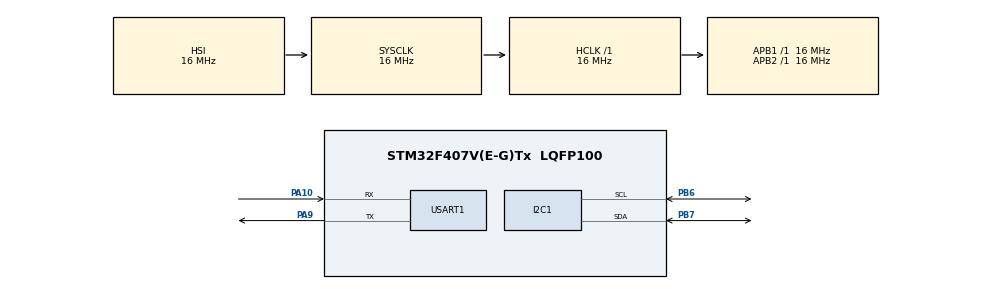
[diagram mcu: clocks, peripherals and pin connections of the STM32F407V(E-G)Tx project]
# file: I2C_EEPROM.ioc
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Mcu.Family=STM32F4
Mcu.Name=STM32F407V(E-G)Tx
Mcu.Package=LQFP100
NVIC.PriorityGroup=NVIC_PRIORITYGROUP_4
PA10.Mode=Asynchronous
PA10.Signal=USART1_RX
PA9.Mode=Asynchronous
PA9.Signal=USART1_TX
PB6.Mode=I2C
PB6.Signal=I2C1_SCL
PB7.Mode=I2C
PB7.Signal=I2C1_SDA
ProjectManager.HeapSize=0x200
ProjectManager.StackSize=0x400
ProjectManager.TargetToolchain=MDK-ARM V4
RCC.AHBFreq_Value=16000000
RCC.APB1Freq_Value=16000000
RCC.APB2Freq_Value=16000000
RCC.CortexFreq_Value=16000000
RCC.HSE_VALUE=25000000
RCC.HSI_VALUE=16000000
RCC.LSE_VALUE=32768
RCC.SYSCLKFreq_VALUE=16000000
RCC.VCOOutputFreq_Value=192000000
USART1.VirtualMode=VM_ASYNC
board=I2C_EEPROM

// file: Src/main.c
/**
  ******************************************************************************
  * @file           : main.c
  * @brief          : Main program body
  ******************************************************************************
  ** This notice applies to any and all portions of this file
  * that are not between comment pairs USER CODE BEGIN and
  * USER CODE END. Other portions of this file, whether
  * inserted by the user or by software development tools
  * are owned by their respective copyright owners.
  *
  * COPYRIGHT(c) 2018 STMicroelectronics
  *
  * Redistribution and use in source and binary forms, with or without modification,
  * are permitted provided that the following conditions are met:
  *   1. Redistributions of source code must retain the above copyright notice,
  *      this list of conditions and the following disclaimer.
  *   2. Redistributions in binary form must reproduce the above copyright notice,
  *      this list of conditions and the following disclaimer in the documentation
  *      and/or other materials provided with the distribution.
  *   3. Neither the name of STMicroelectronics nor the names of its contributors
  *      may be used to endorse or promote products derived from this software
  *      without specific prior written permission.
  *
  * THIS SOFTWARE IS PROVIDED BY THE COPYRIGHT HOLDERS AND CONTRIBUTORS "AS IS"
  * AND ANY EXPRESS OR IMPLIED WARRANTIES, INCLUDING, BUT NOT LIMITED TO, THE
  * IMPLIED WARRANTIES OF MERCHANTABILITY AND FITNESS FOR A PARTICULAR PURPOSE ARE
  * DISCLAIMED. IN NO EVENT SHALL THE COPYRIGHT HOLDER OR CONTRIBUTORS BE LIABLE
  * FOR ANY DIRECT, INDIRECT, INCIDENTAL, SPECIAL, EXEMPLARY, OR CONSEQUENTIAL
  * DAMAGES (INCLUDING, BUT NOT LIMITED TO, PROCUREMENT OF SUBSTITUTE GOODS OR
  * SERVICES; LOSS OF USE, DATA, OR PROFITS; OR BUSINESS INTERRUPTION) HOWEVER
  * CAUSED AND ON ANY THEORY OF LIABILITY, WHETHER IN CONTRACT, STRICT LIABILITY,
  * OR TORT (INCLUDING NEGLIGENCE OR OTHERWISE) ARISING IN ANY WAY OUT OF THE USE
  * OF THIS SOFTWARE, EVEN IF ADVISED OF THE POSSIBILITY OF SUCH DAMAGE.
  *
  ******************************************************************************
  */
#include "main.h"
#include "stm32f4xx_hal.h"

/* USER CODE BEGIN Includes */
#include "string.h"
/* USER CODE END Includes */

I2C_HandleTypeDef hi2c1;

UART_HandleTypeDef huart1;

/* USER CODE BEGIN PV */
/* Private variables ---------------------------------------------------------*/
#define EEPROM_ADDRESS 0xA0
/* USER CODE END PV */

void SystemClock_Config(void);
static void MX_GPIO_Init(void);
static void MX_I2C1_Init(void);
static void MX_USART1_UART_Init(void);

/* USER CODE BEGIN PFP */
/* Private function prototypes -----------------------------------------------*/
void i_write(unsigned position, unsigned int data) {
	int count = 0;
	if (data>255) {
		while (data>255) {
			data = data - 255;
			count++;
		}
	}

	if (count>0) {
		HAL_I2C_Mem_Write(&hi2c1, EEPROM_ADDRESS, position, 0xFF, (uint8_t*)&count,1,1);
		HAL_Delay(5);
		HAL_I2C_Mem_Write(&hi2c1, EEPROM_ADDRESS, position + 1, 0xFF, (uint8_t*)&data,1,1);
		HAL_Delay(5);
	}
	else {
		HAL_I2C_Mem_Write(&hi2c1, EEPROM_ADDRESS, position, 0xFF, (uint8_t*)&count,1,1);
		HAL_Delay(5);
		HAL_I2C_Mem_Write(&hi2c1, EEPROM_ADDRESS, position + 1, 0xFF, (uint8_t*)&data,1,1);
		HAL_Delay(5);

	}

}

unsigned int i_read(unsigned position) {
	int count = 0;
	unsigned int data = 0;
	HAL_I2C_Mem_Read(&hi2c1, EEPROM_ADDRESS, position, 0xFF, (uint8_t*)&count,1,1);
	HAL_I2C_Mem_Read(&hi2c1, EEPROM_ADDRESS, position + 1, 0xFF, (uint8_t*)&data,1,1);
	data = data + (count*255);
	return data;

}
/* USER CODE END PFP */

/* USER CODE BEGIN 0 */
unsigned int data_write = 25000;

unsigned int data_read = 0;

char data_uart[100];
/* USER CODE END 0 */

int main(void)
{

  /* MCU Configuration----------------------------------------------------------*/

  /* Reset of all peripherals, Initializes the Flash interface and the Systick. */
  HAL_Init();

  /* Configure the system clock */
  SystemClock_Config();

  /* Initialize all configured peripherals */
  MX_GPIO_Init();
  MX_I2C1_Init();
  MX_USART1_UART_Init();
  /* USER CODE BEGIN 2 */
	i_write(0, data_write); //Write data integer to address memory 0

	data_read = i_read(0); // Read ata from address memory 0

	sprintf(data_uart, "data_eeprom %d \r\n", data_read);

  /* USER CODE END 2 */

  /* Infinite loop */
  while (1)
  {
	HAL_UART_Transmit(&huart1, (uint8_t*)data_uart, strlen(data_uart),100); // send data via uart

	HAL_Delay(2000);
  }

}

void SystemClock_Config(void)
{

  RCC_OscInitTypeDef RCC_OscInitStruct;
  RCC_ClkInitTypeDef RCC_ClkInitStruct;

    /**Configure the main internal regulator output voltage
    */
  __HAL_RCC_PWR_CLK_ENABLE();

  __HAL_PWR_VOLTAGESCALING_CONFIG(PWR_REGULATOR_VOLTAGE_SCALE1);

    /**Initializes the CPU, AHB and APB busses clocks
    */
  RCC_OscInitStruct.OscillatorType = RCC_OSCILLATORTYPE_HSI;
  RCC_OscInitStruct.HSIState = RCC_HSI_ON;
  RCC_OscInitStruct.HSICalibrationValue = 16;
  RCC_OscInitStruct.PLL.PLLState = RCC_PLL_NONE;
  if (HAL_RCC_OscConfig(&RCC_OscInitStruct) != HAL_OK)
  {
    _Error_Handler(__FILE__, __LINE__);
  }

    /**Initializes the CPU, AHB and APB busses clocks
    */
  RCC_ClkInitStruct.ClockType = RCC_CLOCKTYPE_HCLK|RCC_CLOCKTYPE_SYSCLK
                              |RCC_CLOCKTYPE_PCLK1|RCC_CLOCKTYPE_PCLK2;
  RCC_ClkInitStruct.SYSCLKSource = RCC_SYSCLKSOURCE_HSI;
  RCC_ClkInitStruct.AHBCLKDivider = RCC_SYSCLK_DIV1;
  RCC_ClkInitStruct.APB1CLKDivider = RCC_HCLK_DIV1;
  RCC_ClkInitStruct.APB2CLKDivider = RCC_HCLK_DIV1;

  if (HAL_RCC_ClockConfig(&RCC_ClkInitStruct, FLASH_LATENCY_0) != HAL_OK)
  {
    _Error_Handler(__FILE__, __LINE__);
  }

    /**Configure the Systick interrupt time
    */
  HAL_SYSTICK_Config(HAL_RCC_GetHCLKFreq()/1000);

    /**Configure the Systick
    */
  HAL_SYSTICK_CLKSourceConfig(SYSTICK_CLKSOURCE_HCLK);

  /* SysTick_IRQn interrupt configuration */
  HAL_NVIC_SetPriority(SysTick_IRQn, 0, 0);
}

/* I2C1 init function */
static void MX_I2C1_Init(void)
{

  hi2c1.Instance = I2C1;
  hi2c1.Init.ClockSpeed = 100000;
  hi2c1.Init.DutyCycle = I2C_DUTYCYCLE_2;
  hi2c1.Init.OwnAddress1 = 0;
  hi2c1.Init.AddressingMode = I2C_ADDRESSINGMODE_7BIT;
  hi2c1.Init.DualAddressMode = I2C_DUALADDRESS_DISABLE;
  hi2c1.Init.OwnAddress2 = 0;
  hi2c1.Init.GeneralCallMode = I2C_GENERALCALL_DISABLE;
  hi2c1.Init.NoStretchMode = I2C_NOSTRETCH_DISABLE;
  if (HAL_I2C_Init(&hi2c1) != HAL_OK)
  {
    _Error_Handler(__FILE__, __LINE__);
  }

}

/* USART1 init function */
static void MX_USART1_UART_Init(void)
{

  huart1.Instance = USART1;
  huart1.Init.BaudRate = 115200;
  huart1.Init.WordLength = UART_WORDLENGTH_8B;
  huart1.Init.StopBits = UART_STOPBITS_1;
  huart1.Init.Parity = UART_PARITY_NONE;
  huart1.Init.Mode = UART_MODE_TX_RX;
  huart1.Init.HwFlowCtl = UART_HWCONTROL_NONE;
  huart1.Init.OverSampling = UART_OVERSAMPLING_16;
  if (HAL_UART_Init(&huart1) != HAL_OK)
  {
    _Error_Handler(__FILE__, __LINE__);
  }

}

/** Pinout Configuration
*/
static void MX_GPIO_Init(void)
{

  /* GPIO Ports Clock Enable */
  __HAL_RCC_GPIOA_CLK_ENABLE();
  __HAL_RCC_GPIOB_CLK_ENABLE();

}

void _Error_Handler(char *file, int line)
{
  while(1)
  {
  }
}

/************************ (C) COPYRIGHT STMicroelectronics *****END OF FILE****/
